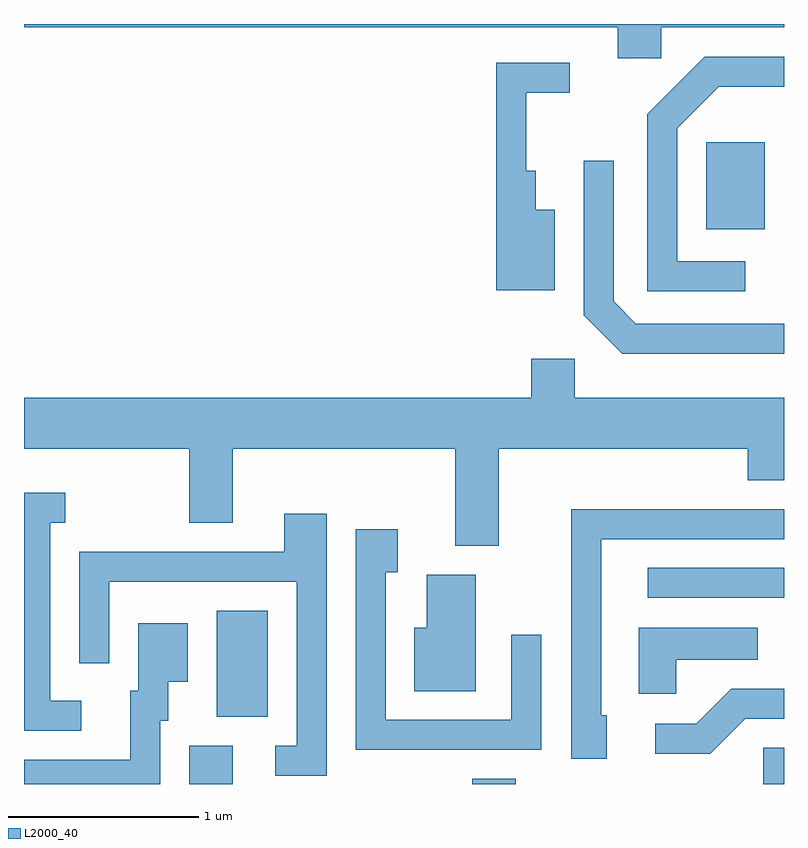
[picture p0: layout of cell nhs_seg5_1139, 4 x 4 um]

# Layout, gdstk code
import gdstk
lib = gdstk.Library(unit=1e-6, precision=1e-09)
def R(c, l, rs):  # rectangles x0, y0, x1, y1
    for r in rs: c.add(gdstk.rectangle(r[:2], r[2:], *l))
def P(c, l, *ps):  # polygons
    for p in ps: c.add(gdstk.Polygon(p, *l))
L2000_40 = (2000, 40)

nhs_seg5_1139 = lib.new_cell('nhs_seg5_1139')
R(nhs_seg5_1139, L2000_40, [(218.481,1526.072,218.709,1526.274), (219.971,1526.072,220.199,1526.099), (221.501,1526.072,221.611,1526.264), (218.626,1526.426,218.894,1526.984), (220.893,1527.051,221.611,1527.209), (221.201,1528.991,221.509,1529.449)])
P(nhs_seg5_1139, L2000_40, [(220.964,1530.056),(221.611,1530.056),(221.611,1530.072),(217.611,1530.072),(217.611,1530.056),(220.736,1530.056),(220.736,1529.891),(220.964,1529.891)],
  [(221.408,1528.824),(221.049,1528.824),(221.049,1529.524),(221.267,1529.741),(221.611,1529.741),(221.611,1529.899),(221.194,1529.899),(220.891,1529.597),(220.891,1528.666),(221.408,1528.666)],
  [(220.404,1529.094),(220.304,1529.094),(220.304,1529.299),(220.254,1529.299),(220.254,1529.711),(220.483,1529.711),(220.483,1529.869),(220.096,1529.869),(220.096,1528.671),(220.404,1528.671)],
  [(221.611,1528.494),(220.832,1528.494),(220.714,1528.612),(220.714,1529.353),(220.556,1529.353),(220.556,1528.539),(220.759,1528.336),(221.611,1528.336)],
  [(220.109,1527.836),(221.421,1527.836),(221.421,1527.671),(221.611,1527.671),(221.611,1528.104),(220.509,1528.104),(220.509,1528.309),(220.281,1528.309),(220.281,1528.104),(217.611,1528.104),(217.611,1527.836),(218.481,1527.836),(218.481,1527.446),(218.709,1527.446),(218.709,1527.836),(219.881,1527.836),(219.881,1527.326),(220.109,1527.326)],
  [(217.913,1526.509),(217.749,1526.509),(217.749,1527.446),(217.828,1527.446),(217.828,1527.604),(217.611,1527.604),(217.611,1526.351),(217.913,1526.351)],
  [(220.679,1526.434),(220.649,1526.434),(220.649,1527.361),(221.611,1527.361),(221.611,1527.519),(220.491,1527.519),(220.491,1526.206),(220.679,1526.206)],
  [(219.204,1527.494),(218.981,1527.494),(218.981,1527.294),(217.901,1527.294),(217.901,1526.708),(218.059,1526.708),(218.059,1527.136),(219.046,1527.136),(219.046,1526.274),(218.933,1526.274),(218.933,1526.116),(219.204,1526.116)],
  [(220.334,1526.858),(220.176,1526.858),(220.176,1526.409),(219.514,1526.409),(219.514,1527.186),(219.579,1527.186),(219.579,1527.414),(219.356,1527.414),(219.356,1526.251),(220.334,1526.251)],
  [(219.989,1527.174),(219.731,1527.174),(219.731,1526.894),(219.666,1526.894),(219.666,1526.561),(219.989,1526.561)],
  [(218.329,1526.406),(218.369,1526.406),(218.369,1526.611),(218.474,1526.611),(218.474,1526.919),(218.211,1526.919),(218.211,1526.564),(218.171,1526.564),(218.171,1526.199),(217.611,1526.199),(217.611,1526.072),(218.329,1526.072)],
  [(221.044,1526.726),(221.473,1526.726),(221.473,1526.894),(220.846,1526.894),(220.846,1526.546),(221.044,1526.546)],
  [(221.407,1526.416),(221.611,1526.416),(221.611,1526.574),(221.334,1526.574),(221.149,1526.389),(220.933,1526.389),(220.933,1526.231),(221.222,1526.231)])

lib.write_gds('nhs_seg5_1139.gds')
